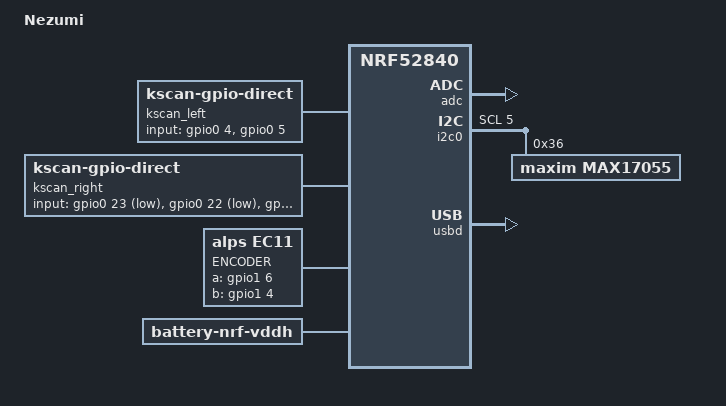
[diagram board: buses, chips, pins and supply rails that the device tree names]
/*
 * Copyright (c) 2020 Pete Johanson, TJ Campie
 *
 * SPDX-License-Identifier: MIT
 */

/dts-v1/;
#include <nordic/nrf52840_qiaa.dtsi>
#include <dt-bindings/zmk/matrix_transform.h>
#include <dt-bindings/zmk/keys.h>
#include <dt-bindings/zmk/bt.h>
#include <dt-bindings/zmk/outputs.h>

/ {
    model = "Nezumi";
    compatible = "nezumi";

    chosen {
        zephyr,code-partition = &code_partition;
        zephyr,sram = &sram0;
        zephyr,flash = &flash0;
        zmk,kscan = &kscan;
        zephyr,console = &cdc_acm_uart;
        zmk,battery = &vbatt;
        zmk,matrix_transform = &default_transform;
    };
    
    default_transform: keymap_transform_0 {
        compatible = "zmk,matrix-transform";
        columns = <5>;
        rows = <1>;

        map = <
            RC(0,0) RC(0,1) RC(0,2) RC(0,3) RC(0,4)
        >;
    };
    
    kscan: kscan {
        compatible = "zmk,kscan-composite";
        label = "KSCAN";
        rows = <1>;
        columns = <5>;

        left {
            kscan = <&kscan_left>;
        };

        right {
            kscan = <&kscan_right>;
            column-offset = <3>;
        };
    };

    kscan_left: kscan_left {
        compatible="zmk,kscan-gpio-direct"
        label = "KSCAN_LEFT";

        debounce-press-ms = 0;
        debounce-release-ms = 0;

        input-gpios
        = <&gpio0 4 (GPIO_ACTIVE_HIGH)>
        , <&gpio0 5 (GPIO_ACTIVE_HIGH)>
        ;
    };

    kscan_right: kscan_right {
        compatible="zmk,kscan-gpio-direct"
        label = "KSCAN_RIGHT";

        input-gpios
        = <&gpio0 23 (GPIO_ACTIVE_LOW | GPIO_PULL_UP)>
        , <&gpio0 22 (GPIO_ACTIVE_LOW | GPIO_PULL_UP)>
        , <&gpio1 9 (GPIO_ACTIVE_LOW | GPIO_PULL_UP)>
        ;
    };

    encoder: encoder {
        compatible = "alps,ec11";
        label = "ENCODER";
        a-gpios = <&gpio1 6 (GPIO_ACTIVE_HIGH | GPIO_PULL_UP)>;
        b-gpios = <&gpio1 4 (GPIO_ACTIVE_HIGH | GPIO_PULL_UP)>;
        resolution = <2>;
        status = "okay";
    };

    vbatt: vbatt {
        compatible = "zmk,battery-nrf-vddh";
        label = "BATTERY";
    };
};

&adc {
    status = "okay";
};

&gpiote {
    status = "okay";
};

&gpio0 {
    status = "okay";
};

&gpio1 {
    status = "okay";
};

&i2c0 {
    compatible = "nordic,nrf-twi";
    status = "okay";
    sda-pin = <(32 + 9)>;
    scl-pin = <5>;

    fuel_gauge: max17055@36 {
        compatible = "maxim,max17055";
        label = "max17055";
        reg = <0x36>;

        design-capacity = <1200>;
        design-voltage = <3700>;
        desired-voltage = <4200>;
        desired-charging-current = <500>;
        i-chg-term = <30>;
        rsense-mohms = <5>;
        v-empty = <3000>;
    };
};

&usbd {
    status = "okay";

    cdc_acm_uart: cdc_acm_uart {
        compatible = "zephyr,cdc-acm-uart";
        label = "CDC_ACM_0";
    };
};

&flash0 {
    /*
     * For more information, see:
     * http://docs.zephyrproject.org/latest/devices/dts/flash_partitions.html
     */
    partitions {
        compatible = "fixed-partitions";
        #address-cells = <1>;
        #size-cells = <1>;

        sd_partition: partition@0 {
            label = "softdevice";
            reg = <0x00000000 0x00026000>;
        };
        code_partition: partition@26000 {
            label = "code_partition";
            reg = <0x00026000 0x000c6000>;
        };

        /*
         * The flash starting at 0x000ec000 and ending at
         * 0x000f3fff is reserved for use by the application.
         */

        /*
         * Storage partition will be used by FCB/LittleFS/NVS
         * if enabled.
         */
        storage_partition: partition@ec000 {
            label = "storage";
            reg = <0x000ec000 0x00008000>;
        };

        boot_partition: partition@f4000 {
            label = "adafruit_boot";
            reg = <0x000f4000 0x0000c000>;
        };
    };
};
